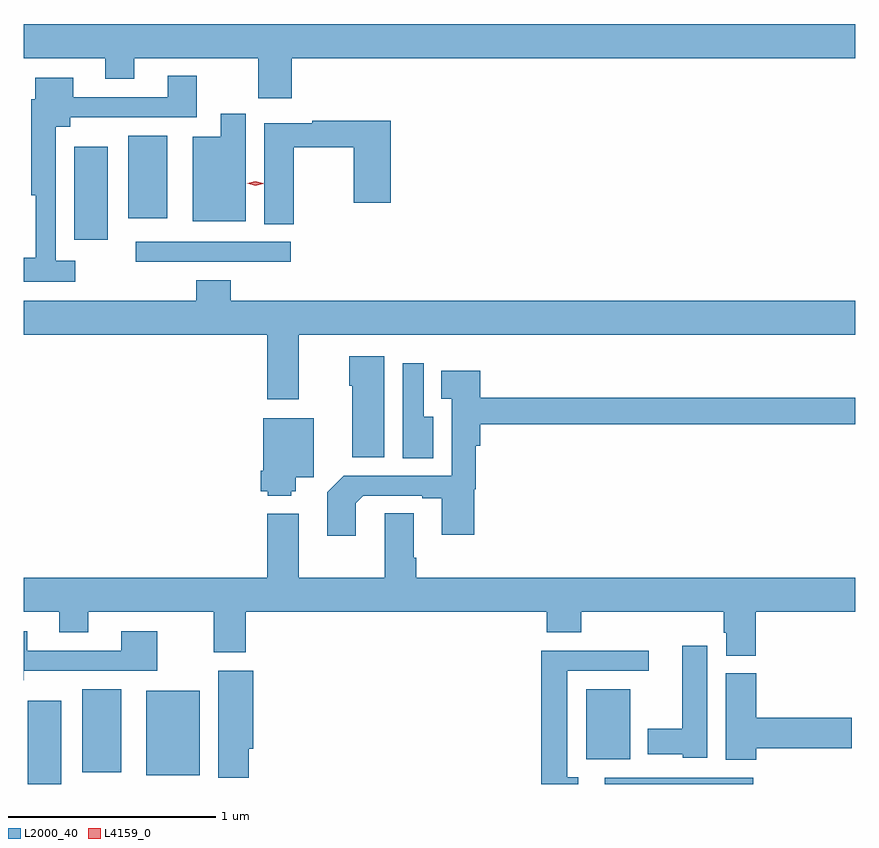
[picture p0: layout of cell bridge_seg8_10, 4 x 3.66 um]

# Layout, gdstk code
import gdstk
lib = gdstk.Library(unit=1e-6, precision=1e-09)
def R(c, l, rs):  # rectangles x0, y0, x1, y1
    for r in rs: c.add(gdstk.rectangle(r[:2], r[2:], *l))
def P(c, l, *ps):  # polygons
    for p in ps: c.add(gdstk.Polygon(p, *l))
L2000_40 = (2000, 40)
L4159_0 = (4159, 0)

bridge_seg8_10 = lib.new_cell('bridge_seg8_10')
R(bridge_seg8_10, L2000_40, [(939.437,1155.632,939.598,1156.033), (942.213,1155.632,942.926,1155.663), (940.007,1155.674,940.264,1156.081), (939.698,1155.689,939.886,1156.087), (942.122,1155.752,942.334,1156.087), (939.957,1158.144,940.702,1158.24), (939.659,1158.249,939.82,1158.697), (939.92,1158.353,940.108,1158.751)])
P(bridge_seg8_10, L2000_40, [(940.706,1159.124),(943.417,1159.124),(943.417,1159.288),(939.417,1159.288),(939.417,1159.124),(939.809,1159.124),(939.809,1159.025),(939.949,1159.025),(939.949,1159.124),(940.546,1159.124),(940.546,1158.93),(940.706,1158.93)],
  [(939.664,1158.148),(939.57,1158.148),(939.57,1158.794),(939.64,1158.794),(939.64,1158.84),(940.249,1158.84),(940.249,1159.039),(940.109,1159.039),(940.109,1158.936),(939.655,1158.936),(939.655,1159.03),(939.473,1159.03),(939.473,1158.926),(939.454,1158.926),(939.454,1158.463),(939.474,1158.463),(939.474,1158.164),(939.417,1158.164),(939.417,1158.048),(939.664,1158.048)],
  [(940.486,1158.856),(940.364,1158.856),(940.364,1158.745),(940.229,1158.745),(940.229,1158.338),(940.486,1158.338)],
  [(940.716,1158.694),(941.005,1158.694),(941.005,1158.429),(941.183,1158.429),(941.183,1158.823),(940.804,1158.823),(940.804,1158.81),(940.574,1158.81),(940.574,1158.325),(940.716,1158.325)],
  [(940.741,1157.792),(943.417,1157.792),(943.417,1157.956),(940.412,1157.956),(940.412,1158.055),(940.247,1158.055),(940.247,1157.956),(939.417,1157.956),(939.417,1157.792),(940.589,1157.792),(940.589,1157.484),(940.741,1157.484)],
  [(941.152,1157.689),(940.982,1157.689),(940.982,1157.547),(940.997,1157.547),(940.997,1157.205),(941.152,1157.205)],
  [(941.386,1157.398),(941.341,1157.398),(941.341,1157.656),(941.24,1157.656),(941.24,1157.2),(941.386,1157.2)],
  [(941.013,1156.982),(941.05,1157.019),(941.333,1157.019),(941.333,1157.007),(941.429,1157.007),(941.429,1156.83),(941.585,1156.83),(941.585,1157.051),(941.591,1157.051),(941.591,1157.259),(941.612,1157.259),(941.612,1157.362),(943.417,1157.362),(943.417,1157.491),(941.612,1157.491),(941.612,1157.62),(941.426,1157.62),(941.426,1157.485),(941.475,1157.485),(941.475,1157.115),(940.956,1157.115),(940.877,1157.036),(940.877,1156.827),(941.013,1156.827)],
  [(940.704,1157.04),(940.726,1157.04),(940.726,1157.108),(940.813,1157.108),(940.813,1157.392),(940.568,1157.392),(940.568,1157.14),(940.556,1157.14),(940.556,1157.04),(940.59,1157.04),(940.59,1157.018),(940.704,1157.018)],
  [(942.938,1156.46),(943.417,1156.46),(943.417,1156.624),(941.306,1156.624),(941.306,1156.72),(941.293,1156.72),(941.293,1156.934),(941.153,1156.934),(941.153,1156.624),(940.741,1156.624),(940.741,1156.933),(940.589,1156.933),(940.589,1156.624),(939.417,1156.624),(939.417,1156.46),(939.587,1156.46),(939.587,1156.361),(939.727,1156.361),(939.727,1156.46),(940.331,1156.46),(940.331,1156.266),(940.484,1156.266),(940.484,1156.46),(941.933,1156.46),(941.933,1156.361),(942.098,1156.361),(942.098,1156.46),(942.785,1156.46),(942.785,1156.359),(942.797,1156.359),(942.797,1156.249),(942.938,1156.249)],
  [(939.418,1156.176),(940.06,1156.176),(940.06,1156.366),(939.887,1156.366),(939.887,1156.272),(939.433,1156.272),(939.433,1156.366),(939.417,1156.366),(939.417,1156.13),(939.418,1156.13)],
  [(942.706,1156.297),(942.584,1156.297),(942.584,1155.898),(942.419,1155.898),(942.419,1155.776),(942.588,1155.776),(942.588,1155.758),(942.706,1155.758)],
  [(942.085,1155.664),(942.031,1155.664),(942.031,1156.176),(942.424,1156.176),(942.424,1156.274),(941.906,1156.274),(941.906,1155.632),(942.085,1155.632)],
  [(940.499,1155.801),(940.52,1155.801),(940.52,1156.177),(940.352,1156.177),(940.352,1155.661),(940.499,1155.661)],
  [(942.941,1155.803),(943.399,1155.803),(943.399,1155.95),(942.941,1155.95),(942.941,1156.164),(942.794,1156.164),(942.794,1155.748),(942.941,1155.748)])
P(bridge_seg8_10, L4159_0, [(940.531,1158.511),(940.493,1158.521),(940.493,1158.521),(940.493,1158.521),(940.531,1158.531),(940.57,1158.521),(940.57,1158.521),(940.57,1158.52)])

lib.write_gds('bridge_seg8_10.gds')
